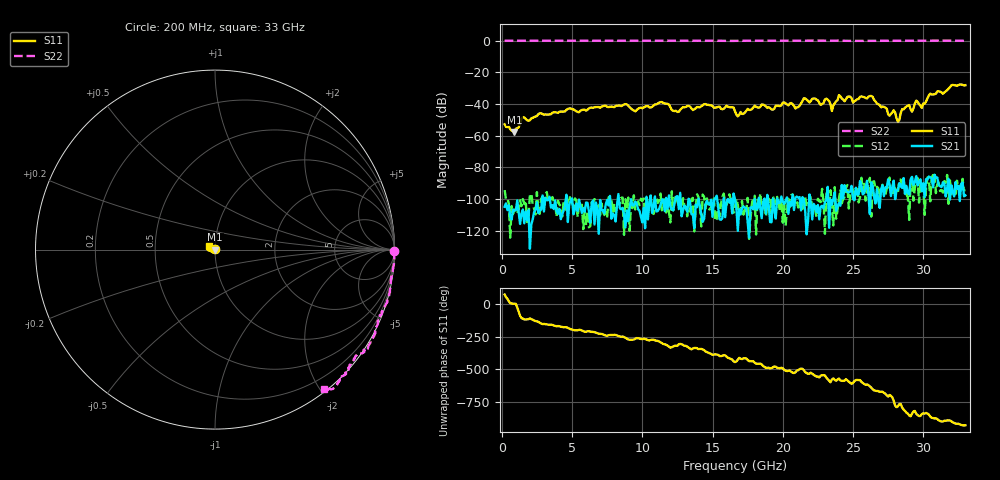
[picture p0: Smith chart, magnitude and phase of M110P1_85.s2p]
# GHZ S RI R 50
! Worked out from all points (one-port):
!   329 points, 200 MHz to 33 GHz, reference 50 ohm
!   lowest |S11| = -57.6 dB at 900 MHz (marker M1), VSWR 1.00, Z = 50.1 - j0.000675 ohm
!   |S11| at or under -10 dB: start of sweep to end of sweep
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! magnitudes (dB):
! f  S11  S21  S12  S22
! 200 MHz  -52.8  -105.0  -94.4  0.0
! 900 MHz  -57.6  -107.5  -106.7  0.0
! 1.5 GHz  -48.4  -106.7  -100.1  0.0
! 5.7 GHz  -43.8  -108.8  -103.6  0.0
! 11.2 GHz  -39.1  -106.2  -101.1  0.0
! 12.5 GHz  -45.0  -98.3  -101.6  0.0
! 14.5 GHz  -40.1  -103.2  -106.0  -0.1
! 16.6 GHz  -44.6  -100.3  -105.1  -0.1
! 22.1 GHz  -36.8  -113.0  -105.8  0.1
! 23.1 GHz  -36.6  -100.7  -96.6  0.0
! 23.5 GHz  -44.4  -103.6  -106.0  0.0
! 24 GHz  -34.4  -102.6  -99.9  0.0
! 26.3 GHz  -34.9  -89.5  -111.2  -0.1
! 27.6 GHz  -47.4  -90.6  -86.5  -0.1
! 27.9 GHz  -44.0  -88.5  -95.3  -0.1
! 28.2 GHz  -51.4  -94.2  -95.6  -0.1
! 28.5 GHz  -43.2  -93.1  -94.1  0.0
! 29.2 GHz  -44.8  -86.0  -86.5  0.0
! 29.5 GHz  -37.9  -85.6  -88.5  0.1
! 29.9 GHz  -42.5  -95.2  -89.9  0.0
! 30.5 GHz  -33.5  -86.3  -101.5  0.0
! 33 GHz  -28.1  -97.8  -94.4  -0.1
